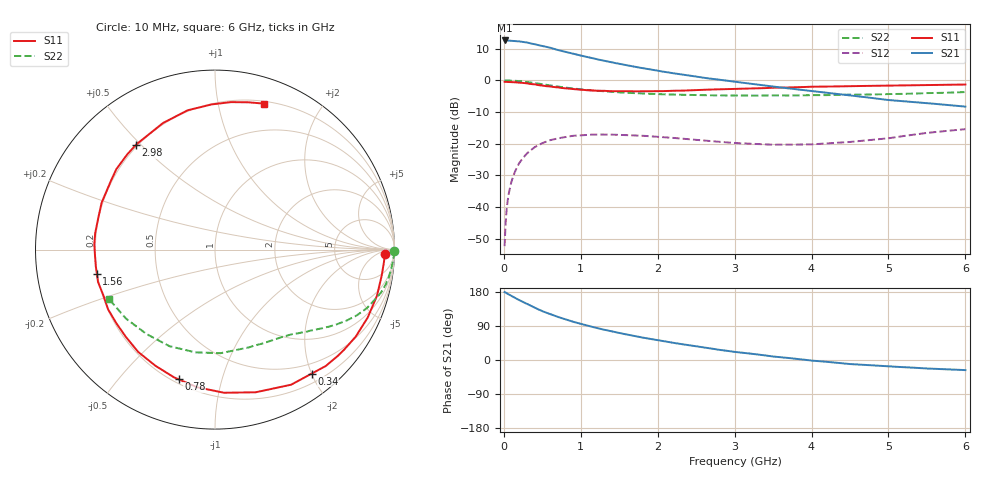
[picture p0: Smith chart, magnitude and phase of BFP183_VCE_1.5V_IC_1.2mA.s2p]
! Infineon Technologies  Discrete & RF Semiconductors
! BFP183
! VCE = 1.5 V,  IC =  1.2 mA
! Common Emitter S-Parameters:  Jan 2016
# GHz  S  MA  R  50
!  f  S11  S21  S12  S22
! GHz  MAG  ANG  MAG  ANG  MAG  ANG  MAG  ANG
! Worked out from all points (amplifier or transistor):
!   210 points, 10 MHz to 6 GHz, reference 50 ohm
!   highest |S21| = 12.6 dB at 10 MHz (marker M1)
!   |S21| within 3 dB of that: start of sweep to 700 MHz
!   unconditionally stable (mu >= 1): 2.322 GHz to end of sweep
!   at 185 MHz: K = 0.08, MSG = 19.6 dB, |S12| = -26.8 dB
!   at 1.52 GHz: K = 0.63, MSG = 11.2 dB, |S12| = -17.3 dB
!   at 6 GHz: K = 1.08, MAG = 1.9 dB, |S12| = -15.4 dB
!   S11 on the Smith chart (normalised r, x): 10 MHz: 31, -14; 340 MHz: 0.34, -2.00; 780 MHz: 0.22, -0.73; 1.56 GHz: 0.20, -0.10; 2.98 GHz: 0.19, +0.48; 6 GHz: 0.22, +1.37
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0.01  0.9475 -1.4  4.256 179.2  0.0024 85.7  1 -0.6
0.025  0.9438 -4.2  4.246 177.8  0.0059 84.8  0.9981 -1.5
0.04  0.9417 -6.5  4.244 175.8  0.0099 86.3  0.9962 -2.3
0.09  0.9375 -14.3  4.211 170.2  0.0227 80.9  0.9898 -5.2
0.15  0.9312 -24.0  4.148 163.5  0.0372 75.7  0.9812 -8.8
0.22  0.9148 -34.7  4.079 155.9  0.0532 69.5  0.9654 -12.6
0.34  0.8763 -52.0  3.845 144.2  0.0768 59.1  0.9247 -18.5
0.4  0.864 -60.6  3.72 137.9  0.0878 54.9  0.9058 -21.2
0.5  0.8266 -74.1  3.482 128.8  0.1017 47.4  0.8677 -25.2
0.6  0.7992 -86.4  3.277 121.0  0.1131 41.0  0.8303 -28.6
0.78  0.7506 -105.7  2.858 108.4  0.1258 31.4  0.7728 -33.5
1.02  0.7081 -128.6  2.427 94.1  0.136 21.2  0.7149 -38.6
1.3  0.6823 -150.8  2.038 80.1  0.1391 12.2  0.6685 -43.7
1.56  0.6725 -168.2  1.761 68.8  0.1365 6.1  0.6371 -47.7
2.02  0.6732 166.0  1.403 51.5  0.1281 -0.9  0.6037 -55.4
2.58  0.707 141.5  1.104 33.7  0.1121 -4.3  0.58 -66.2
2.98  0.7305 127.3  0.959 22.0  0.1027 -3.1  0.5728 -74.8
3.1  0.7343 123.7  0.918 19.3  0.1009 -1.9  0.5717 -77.6
3.5  0.7626 112.3  0.796 9.2  0.096 2.9  0.578 -86.9
4.1  0.7928 99.1  0.656 -3.1  0.099 12.8  0.5822 -103.7
5.1  0.8286 82.5  0.477 -17.9  0.1266 23.4  0.6073 -131.7
6  0.8577 71.5  0.384 -26.7  0.1691 20.1  0.6519 -155.0
